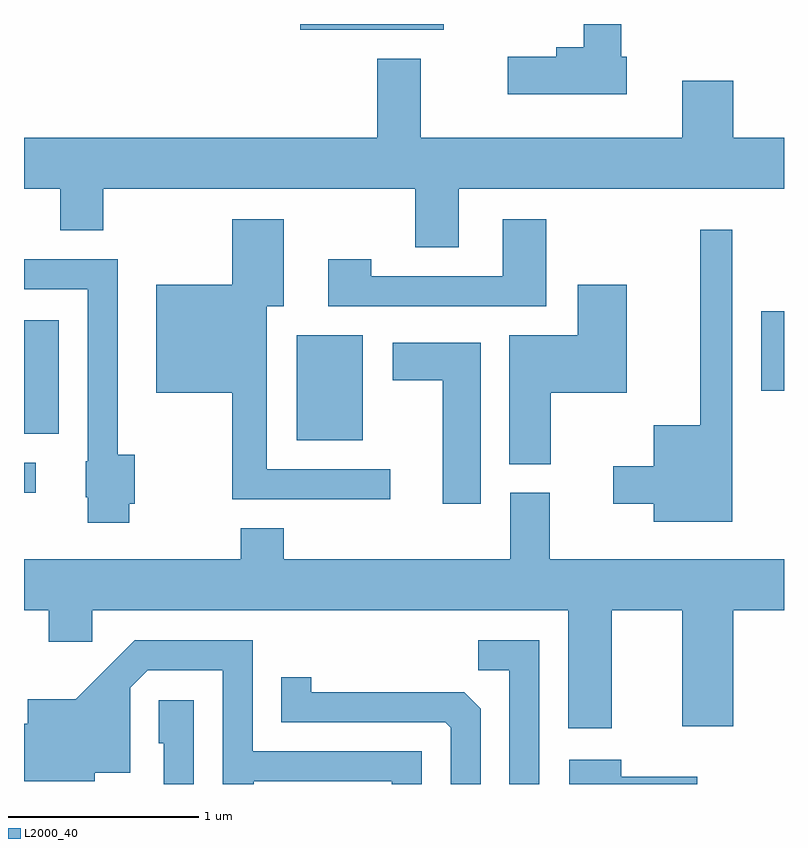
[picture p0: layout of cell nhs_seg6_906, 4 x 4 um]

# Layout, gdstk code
import gdstk
lib = gdstk.Library(unit=1e-6, precision=1e-09)
def R(c, l, rs):  # rectangles x0, y0, x1, y1
    for r in rs: c.add(gdstk.rectangle(r[:2], r[2:], *l))
def P(c, l, *ps):  # polygons
    for p in ps: c.add(gdstk.Polygon(p, *l))
L2000_40 = (2000, 40)

nhs_seg6_906 = lib.new_cell('nhs_seg6_906')
R(nhs_seg6_906, L2000_40, [(211.611,1621.696,211.673,1621.854), (213.046,1621.971,213.394,1622.524), (211.611,1622.006,211.794,1622.604), (215.491,1622.231,215.611,1622.649), (213.066,1624.131,213.819,1624.162)])
P(nhs_seg6_906, L2000_40, [(214.784,1623.989),(214.754,1623.989),(214.754,1624.162),(214.556,1624.162),(214.556,1624.039),(214.411,1624.039),(214.411,1623.989),(214.156,1623.989),(214.156,1623.791),(214.784,1623.791)],
  [(213.899,1623.296),(215.611,1623.296),(215.611,1623.564),(215.344,1623.564),(215.344,1623.864),(215.076,1623.864),(215.076,1623.564),(213.699,1623.564),(213.699,1623.979),(213.471,1623.979),(213.471,1623.564),(211.611,1623.564),(211.611,1623.296),(211.801,1623.296),(211.801,1623.076),(212.029,1623.076),(212.029,1623.296),(213.671,1623.296),(213.671,1622.986),(213.899,1622.986)],
  [(214.359,1623.134),(214.131,1623.134),(214.131,1622.834),(213.439,1622.834),(213.439,1622.924),(213.211,1622.924),(213.211,1622.676),(214.359,1622.676)],
  [(213.538,1621.819),(212.889,1621.819),(212.889,1622.676),(212.979,1622.676),(212.979,1623.134),(212.706,1623.134),(212.706,1622.789),(212.306,1622.789),(212.306,1622.221),(212.706,1622.221),(212.706,1621.661),(213.538,1621.661)],
  [(215.339,1623.078),(215.171,1623.078),(215.171,1622.049),(214.926,1622.049),(214.926,1621.834),(214.711,1621.834),(214.711,1621.636),(214.926,1621.636),(214.926,1621.541),(215.339,1621.541)],
  [(212.164,1621.636),(212.194,1621.636),(212.194,1621.894),(212.104,1621.894),(212.104,1622.924),(211.611,1622.924),(211.611,1622.766),(211.946,1622.766),(211.946,1621.86),(211.936,1621.86),(211.936,1621.67),(211.946,1621.67),(211.946,1621.536),(212.164,1621.536)],
  [(214.384,1622.221),(214.784,1622.221),(214.784,1622.789),(214.526,1622.789),(214.526,1622.524),(214.166,1622.524),(214.166,1621.846),(214.384,1621.846)],
  [(214.014,1622.484),(213.551,1622.484),(213.551,1622.286),(213.816,1622.286),(213.816,1621.636),(214.014,1621.636)],
  [(214.704,1621.076),(215.076,1621.076),(215.076,1620.466),(215.344,1620.466),(215.344,1621.076),(215.611,1621.076),(215.611,1621.344),(214.379,1621.344),(214.379,1621.694),(214.171,1621.694),(214.171,1621.344),(212.979,1621.344),(212.979,1621.509),(212.751,1621.509),(212.751,1621.344),(211.611,1621.344),(211.611,1621.076),(211.741,1621.076),(211.741,1620.911),(211.969,1620.911),(211.969,1621.076),(214.476,1621.076),(214.476,1620.456),(214.704,1620.456)],
  [(214.324,1620.919),(214.003,1620.919),(214.003,1620.761),(214.166,1620.761),(214.166,1620.162),(214.324,1620.162)],
  [(212.819,1620.176),(213.546,1620.176),(213.546,1620.162),(213.704,1620.162),(213.704,1620.334),(212.814,1620.334),(212.814,1620.919),(212.194,1620.919),(211.884,1620.609),(211.631,1620.609),(211.631,1620.479),(211.611,1620.479),(211.611,1620.176),(211.984,1620.176),(211.984,1620.221),(212.169,1620.221),(212.169,1620.669),(212.262,1620.761),(212.656,1620.761),(212.656,1620.162),(212.819,1620.162)],
  [(214.014,1620.559),(213.929,1620.644),(213.124,1620.644),(213.124,1620.723),(212.966,1620.723),(212.966,1620.486),(213.829,1620.486),(213.856,1620.459),(213.856,1620.162),(214.014,1620.162)],
  [(212.504,1620.604),(212.321,1620.604),(212.321,1620.376),(212.346,1620.376),(212.346,1620.162),(212.504,1620.162)],
  [(215.154,1620.199),(214.754,1620.199),(214.754,1620.289),(214.481,1620.289),(214.481,1620.162),(215.154,1620.162)])

lib.write_gds('nhs_seg6_906.gds')
